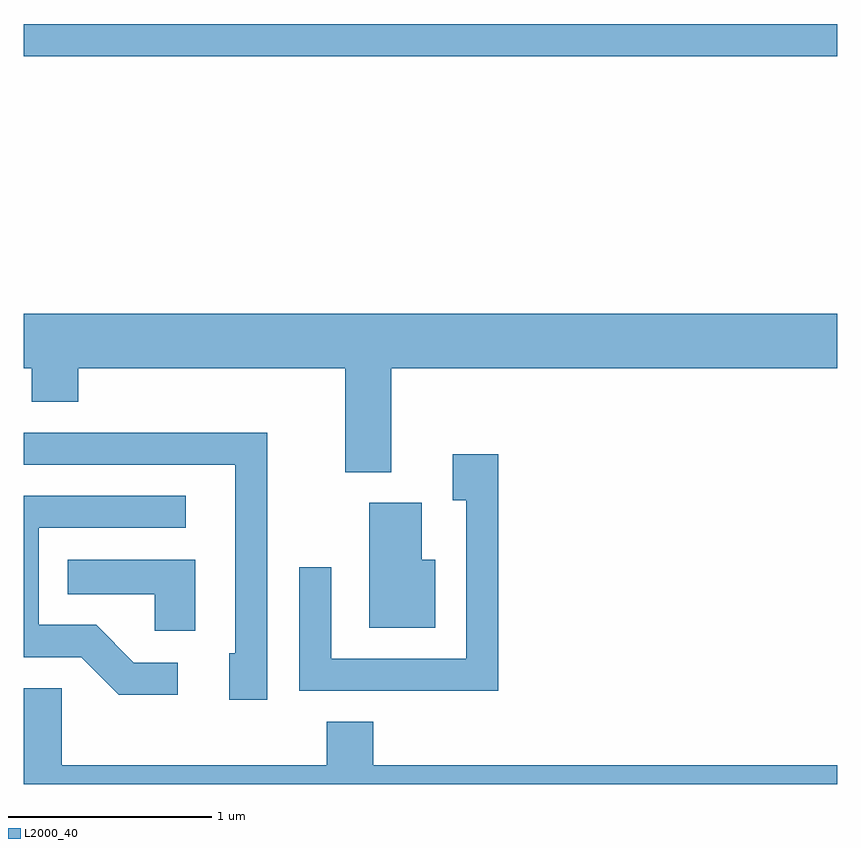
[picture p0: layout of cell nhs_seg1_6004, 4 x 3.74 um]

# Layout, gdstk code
import gdstk
lib = gdstk.Library(unit=1e-6, precision=1e-09)
def R(c, l, rs):  # rectangles x0, y0, x1, y1
    for r in rs: c.add(gdstk.rectangle(r[:2], r[2:], *l))
def P(c, l, *ps):  # polygons
    for p in ps: c.add(gdstk.Polygon(p, *l))
L2000_40 = (2000, 40)

nhs_seg1_6004 = lib.new_cell('nhs_seg1_6004')
R(nhs_seg1_6004, L2000_40, [(365.611,943.291,369.611,943.449)])
P(nhs_seg1_6004, L2000_40, [(367.419,941.756),(369.611,941.756),(369.611,942.024),(365.611,942.024),(365.611,941.756),(365.651,941.756),(365.651,941.591),(365.879,941.591),(365.879,941.756),(367.191,941.756),(367.191,941.246),(367.419,941.246)],
  [(366.809,941.439),(365.611,941.439),(365.611,941.281),(366.651,941.281),(366.651,940.354),(366.621,940.354),(366.621,940.126),(366.809,940.126)],
  [(367.944,941.334),(367.721,941.334),(367.721,941.106),(367.786,941.106),(367.786,940.329),(367.124,940.329),(367.124,940.778),(366.966,940.778),(366.966,940.171),(367.944,940.171)],
  [(366.368,940.309),(366.152,940.309),(365.967,940.494),(365.684,940.494),(365.684,940.971),(366.408,940.971),(366.408,941.129),(365.611,941.129),(365.611,940.336),(365.894,940.336),(366.079,940.151),(366.368,940.151)],
  [(367.634,940.814),(367.569,940.814),(367.569,941.094),(367.311,941.094),(367.311,940.481),(367.634,940.481)],
  [(366.454,940.814),(365.828,940.814),(365.828,940.646),(366.256,940.646),(366.256,940.466),(366.454,940.466)],
  [(369.611,939.804),(367.329,939.804),(367.329,940.019),(367.101,940.019),(367.101,939.804),(365.799,939.804),(365.799,940.184),(365.611,940.184),(365.611,939.712),(369.611,939.712)])

lib.write_gds('nhs_seg1_6004.gds')
